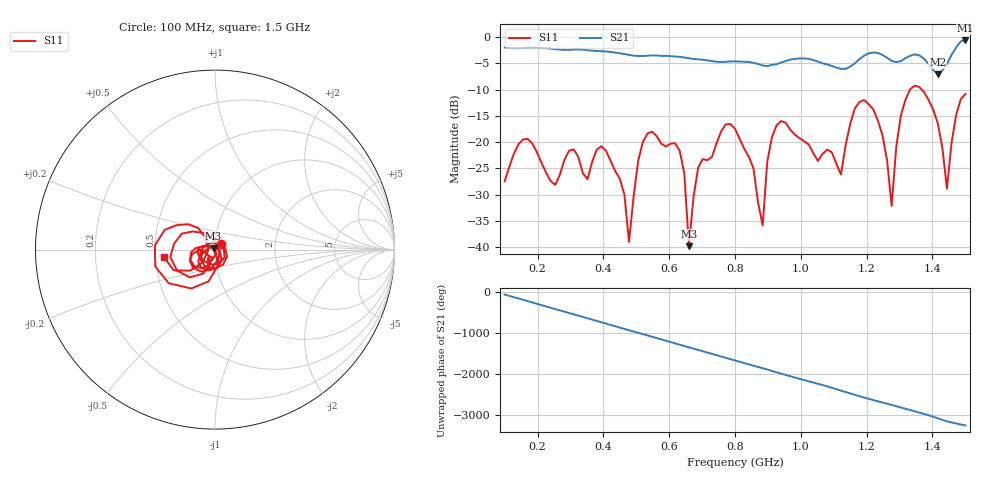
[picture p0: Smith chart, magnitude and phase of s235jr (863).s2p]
! NanoVNA-App
! Date: 2025-09-25 15:10:53
! Start: 100MHz Stop: 1,5GHz Points: 101
! S-Parameter data: F S11 S21 S12 S22
# Hz S RI R 50
!  Frequency  S11_Real  S11_Imag  S21_Real  S21_Imag  S12_Real  S12_Imag  S22_Real  S22_Imag
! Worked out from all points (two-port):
!   101 points, 100 MHz to 1.5 GHz, reference 50 ohm
!   highest |S21| = -0.61 dB at 1.5 GHz (marker M1); lowest = -7.0 dB at 1.416 GHz (marker M2)
!   |S21| within 3 dB of the highest: start of sweep to 603.9 MHz; 1.19 GHz to 1.254 GHz (64.17 MHz wide, 5.25 % of centre) (the widest 2 of 4)
!   lowest |S11| = -39.8 dB at 660 MHz (marker M3), VSWR 1.02, Z = 49.2 + j0.61 ohm
!   |S11| at or under -10 dB: start of sweep to 1.332 GHz; 1.368 GHz to end of sweep
!   S12 and S22 are empty: the file has one direction only
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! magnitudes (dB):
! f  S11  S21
! 100 MHz  -27.5  -2.0
! 170 MHz  -19.4  -2.0
! 338 MHz  -25.9  -2.4
! 408 MHz  -21.6  -2.7
! 478 MHz  -39.0  -3.4
! 520 MHz  -20.0  -3.6
! 576 MHz  -20.3  -3.5
! 632 MHz  -21.6  -3.7
! 660 MHz  -39.8  -4.0
! 688 MHz  -24.9  -4.2
! 800 MHz  -17.5  -4.6
! 884 MHz  -35.9  -5.4
! 926 MHz  -16.8  -5.2
! 1.038 GHz  -22.1  -4.3
! 1.122 GHz  -26.2  -6.0
! 1.192 GHz  -12.0  -3.5
! 1.248 GHz  -18.6  -3.4
! 1.276 GHz  -32.1  -4.5
! 1.332 GHz  -9.9  -3.5
! 1.416 GHz  -16.4  -7.0
! 1.444 GHz  -28.8  -5.1
! 1.5 GHz  -10.8  -0.6
